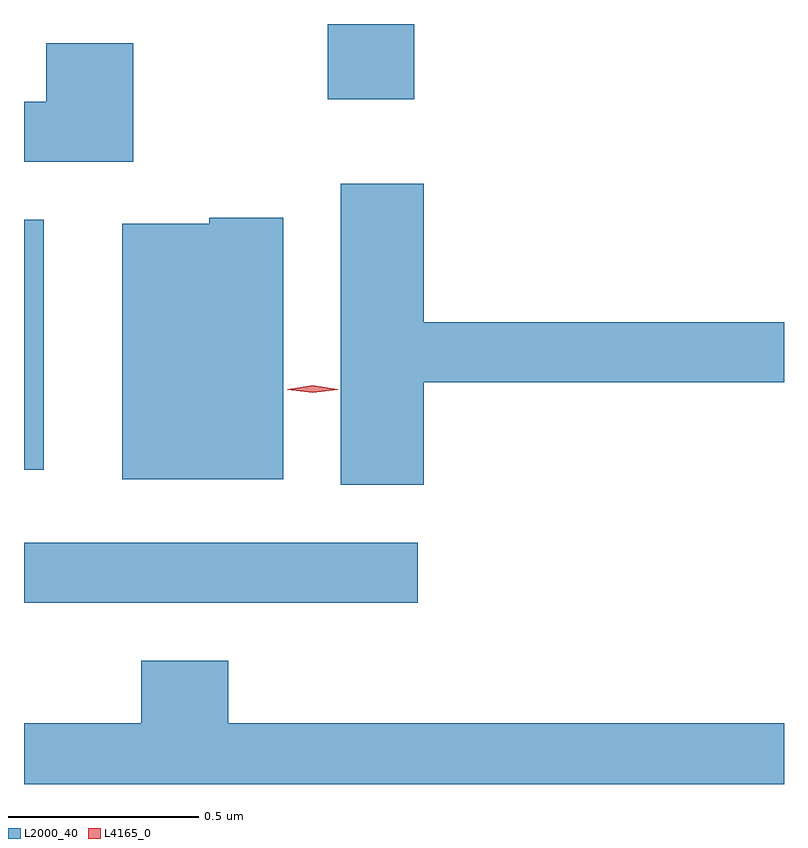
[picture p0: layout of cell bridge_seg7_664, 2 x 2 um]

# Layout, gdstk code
import gdstk
lib = gdstk.Library(unit=1e-6, precision=1e-09)
def R(c, l, rs):  # rectangles x0, y0, x1, y1
    for r in rs: c.add(gdstk.rectangle(r[:2], r[2:], *l))
def P(c, l, *ps):  # polygons
    for p in ps: c.add(gdstk.Polygon(p, *l))
L2000_40 = (2000, 40)
L4165_0 = (4165, 0)

bridge_seg7_664 = lib.new_cell('bridge_seg7_664')
R(bridge_seg7_664, L2000_40, [(650.302,1694.921,651.338,1695.079), (650.302,1695.271,650.354,1695.929), (651.101,1696.246,651.329,1696.444)])
P(bridge_seg7_664, L2000_40, [(650.589,1696.394),(650.361,1696.394),(650.361,1696.239),(650.302,1696.239),(650.302,1696.081),(650.589,1696.081)],
  [(651.354,1695.501),(652.302,1695.501),(652.302,1695.659),(651.354,1695.659),(651.354,1696.024),(651.136,1696.024),(651.136,1695.231),(651.354,1695.231)],
  [(650.984,1695.934),(650.79,1695.934),(650.79,1695.919),(650.561,1695.919),(650.561,1695.246),(650.984,1695.246)],
  [(652.302,1694.604),(650.839,1694.604),(650.839,1694.769),(650.611,1694.769),(650.611,1694.604),(650.302,1694.604),(650.302,1694.444),(652.302,1694.444)])
P(bridge_seg7_664, L4165_0, [(651.062,1695.473),(650.996,1695.482),(650.995,1695.483),(650.996,1695.483),(651.062,1695.493),(651.128,1695.483),(651.129,1695.483),(651.128,1695.482)])

lib.write_gds('bridge_seg7_664.gds')
